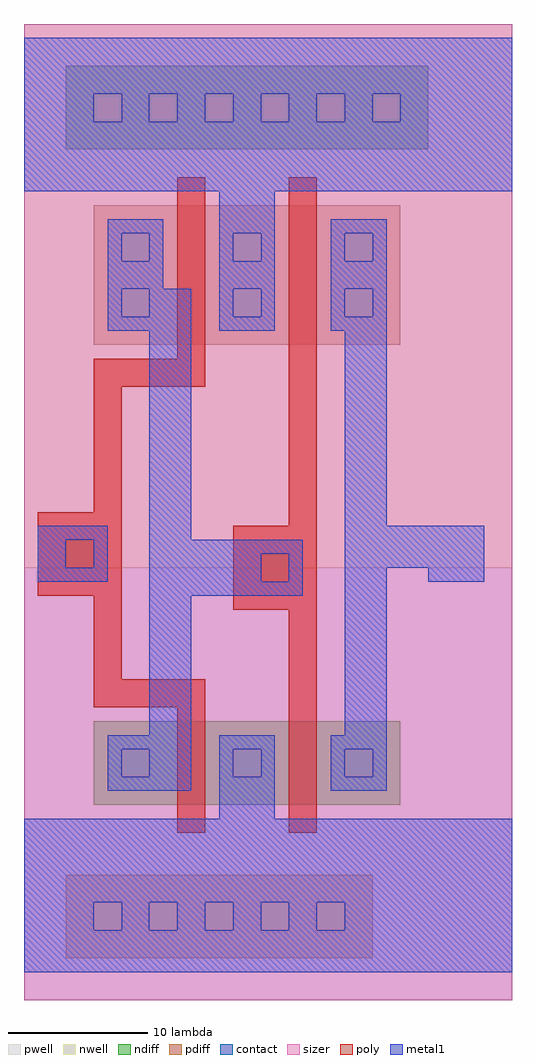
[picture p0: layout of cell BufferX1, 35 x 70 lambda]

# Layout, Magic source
magic
tech LibreSilicon-test000-concept-mg-70-7
<< sizer >>
rect 0 0 35 70
<< metal1 >>
rect 0 65 35 69
rect 0 63 5 65
rect 7 63 9 65
rect 11 63 13 65
rect 15 63 17 65
rect 19 63 21 65
rect 23 63 25 65
rect 27 63 35 65
rect 0 58 35 63
rect 14 55 18 58
rect 6 55 10 56
rect 22 55 26 56
rect 6 53 7 55
rect 9 53 10 55
rect 14 53 15 55
rect 17 53 18 55
rect 22 53 23 55
rect 25 53 26 55
rect 6 51 10 53
rect 14 51 18 53
rect 22 51 26 53
rect 6 49 7 51
rect 9 49 12 51
rect 14 49 15 51
rect 17 49 18 51
rect 22 49 23 51
rect 25 49 26 51
rect 6 48 12 49
rect 14 48 18 49
rect 22 48 26 49
rect 9 33 12 48
rect 23 34 26 48
rect 1 33 6 34
rect 23 31 33 34
rect 1 31 3 33
rect 5 31 6 33
rect 9 32 20 33
rect 9 30 17 32
rect 19 30 20 32
rect 1 30 6 31
rect 23 19 26 31
rect 29 30 33 31
rect 9 29 20 30
rect 9 19 12 29
rect 6 18 12 19
rect 14 18 18 19
rect 22 18 26 19
rect 6 16 7 18
rect 9 16 12 18
rect 14 16 15 18
rect 17 16 18 18
rect 22 16 23 18
rect 25 16 26 18
rect 6 15 12 16
rect 14 13 18 16
rect 22 15 26 16
rect 0 7 35 13
rect 0 5 5 7
rect 7 5 9 7
rect 11 5 13 7
rect 15 5 17 7
rect 19 5 21 7
rect 23 5 35 7
rect 0 2 35 5
<< contact >>
rect 5 63 7 65
rect 9 63 11 65
rect 13 63 15 65
rect 17 63 19 65
rect 21 63 23 65
rect 25 63 27 65
rect 7 53 9 55
rect 15 53 17 55
rect 23 53 25 55
rect 7 49 9 51
rect 15 49 17 51
rect 23 49 25 51
rect 3 31 5 33
rect 17 30 19 32
rect 7 16 9 18
rect 15 16 17 18
rect 23 16 25 18
rect 5 5 7 7
rect 9 5 11 7
rect 13 5 15 7
rect 17 5 19 7
rect 21 5 23 7
<< poly >>
rect 11 46 13 59
rect 19 34 21 59
rect 5 44 13 46
rect 5 35 7 44
rect 1 29 7 35
rect 15 28 21 34
rect 5 23 7 29
rect 19 12 21 28
rect 5 21 13 23
rect 11 12 13 21
<< ndiff >>
rect 3 61 29 67
rect 5 14 27 20
<< pdiff >>
rect 5 47 27 57
rect 3 3 25 9
<< nwell >>
rect 0 31 35 70
<< pwell >>
rect 0 0 35 31
<< end >>
